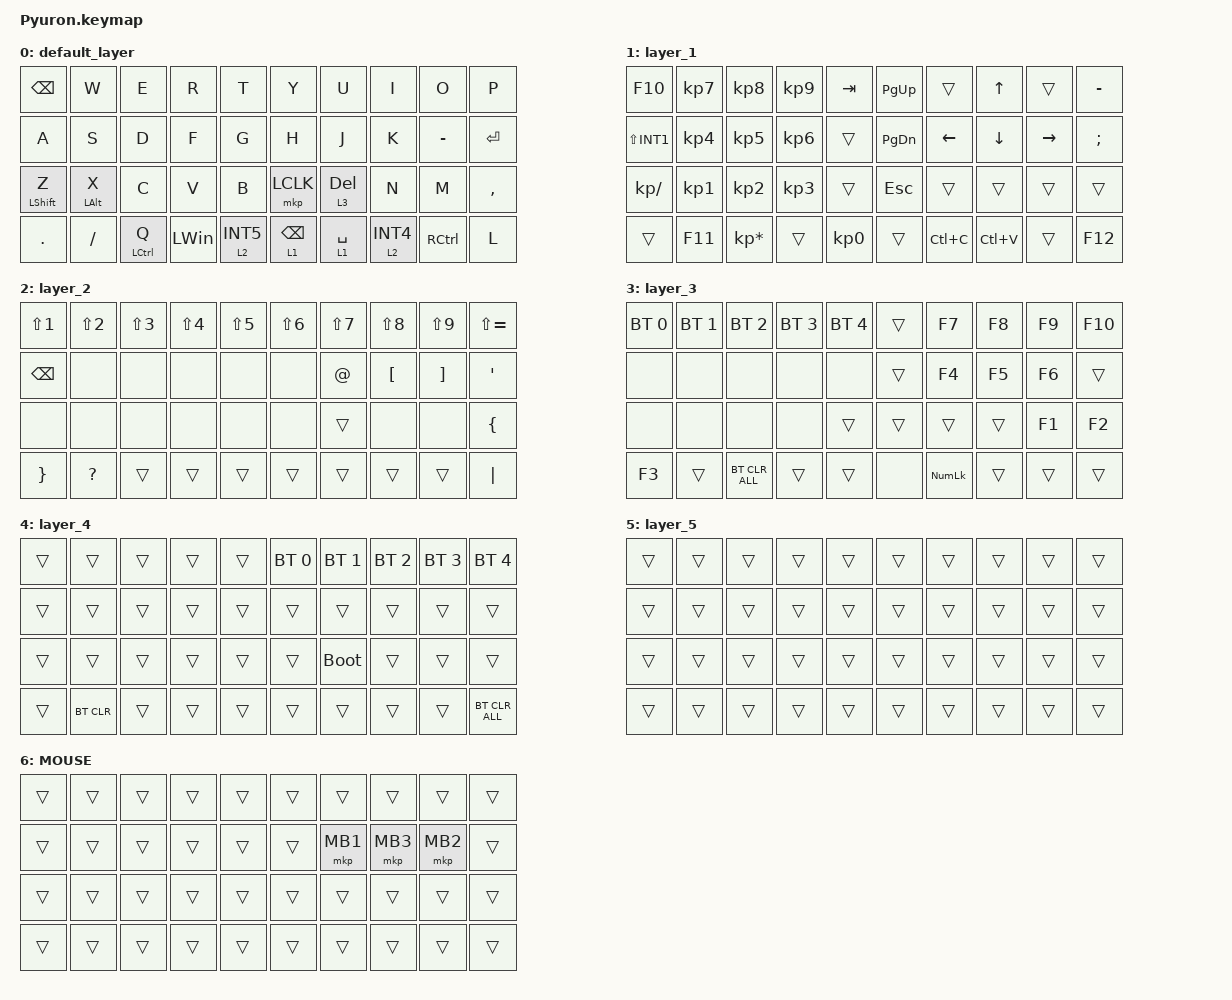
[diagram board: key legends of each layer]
#include <behaviors.dtsi>
#include <dt-bindings/zmk/bt.h>
#include <dt-bindings/zmk/keys.h>
#include <dt-bindings/zmk/pointing.h>

#define MOUSE 6

&mt {
    flavor = "balanced";
    quick-tap-ms = <0>;
    tapping-term-ms = <150>;
};

&lt {
    tapping-term-ms = <150>;
    flavor = "balanced";
};

/ {
    combos {
        compatible = "zmk,combos";

        f2 {
            bindings = <&kp F2>;
            key-positions = <13 12>;
        };

        lclk {
            bindings = <&mkp LCLK>;
            key-positions = <11 12>;
        };

        lclk2 {
            bindings = <&mkp LCLK>;
            key-positions = <16 17>;
        };

        rclk {
            bindings = <&mkp RCLK>;
            key-positions = <17 18>;
        };
    };

    macros {
        to_layer_0: to_layer_0 {
            compatible = "zmk,behavior-macro-one-param";
            #binding-cells = <1>;
            bindings = <&to 0 &macro_param_1to1 &kp MACRO_PLACEHOLDER>;
            label = "TO_LAYER_0";
        };
    };

    lt_to_layer_0: lt_to_layer_0 {
        compatible = "zmk,behavior-hold-tap";
        label = "LAYER_TAP_TO_0";
        bindings = <&mo>, <&to_layer_0>;

        #binding-cells = <2>;
        tapping-term-ms = <200>;
    };
};

/ {
    behaviors {
    };

    keymap {
        compatible = "zmk,keymap";

        default_layer {
            bindings = <
&kp BACKSPACE     &kp W           &kp E        &kp R         &kp T       &kp Y            &kp U         &kp I       &kp O              &kp P
&kp A             &kp S           &kp D        &kp F         &kp G       &kp H            &kp J         &kp K       &kp MINUS          &kp ENTER
&mt LEFT_SHIFT Z  &mt LEFT_ALT X  &kp C        &kp V         &kp B       &mkp LCLK        &lt 3 DELETE  &kp N       &kp M              &kp COMMA
&kp DOT           &kp SLASH       &mt LCTRL Q  &kp LEFT_WIN  &lt 2 INT5  &lt 1 BACKSPACE  &lt 1 SPACE   &lt 2 INT4  &kp RIGHT_CONTROL  &kp L
            >;
        };

        layer_1 {
            bindings = <
&kp F10       &kp KP_NUMBER_7  &kp KP_NUMBER_8  &kp KP_NUMBER_9  &kp TAB          &kp PG_UP   &trans     &kp UP_ARROW  &trans     &kp MINUS
&kp LS(INT1)  &kp KP_NUMBER_4  &kp KP_NUMBER_5  &kp KP_NUMBER_6  &trans           &kp PG_DN   &kp LEFT   &kp DOWN      &kp RIGHT  &kp SEMICOLON
&kp KP_SLASH  &kp KP_NUMBER_1  &kp KP_NUMBER_2  &kp KP_NUMBER_3  &trans           &kp ESCAPE  &trans     &trans        &trans     &trans
&trans        &kp F11          &kp KP_MULTIPLY  &trans           &kp KP_NUMBER_0  &trans      &kp LC(C)  &kp LC(V)     &trans     &kp F12
            >;
        };

        layer_2 {
            bindings = <
&kp LS(N1)       &kp LS(N2)  &kp LS(N3)  &kp LS(N4)  &kp LS(N5)  &kp LS(N6)  &kp LS(N7)   &kp LS(N8)        &kp LS(N9)         &kp LS(EQUAL)
&kp BACKSPACE    &none       &none       &none       &none       &none       &kp AT_SIGN  &kp LEFT_BRACKET  &kp RIGHT_BRACKET  &kp APOSTROPHE
&none            &none       &none       &none       &none       &none       &trans       &none             &none              &kp LEFT_BRACE
&kp RIGHT_BRACE  &kp QMARK   &trans      &trans      &trans      &trans      &trans       &trans            &trans             &kp PIPE
            >;
        };

        layer_3 {
            bindings = <
&bt BT_SEL 0  &bt BT_SEL 1  &bt BT_SEL 2    &bt BT_SEL 3  &bt BT_SEL 4  &trans  &kp F7          &kp F8  &kp F9  &kp F10
&none         &none         &none           &none         &none         &trans  &kp F4          &kp F5  &kp F6  &trans
&none         &none         &none           &none         &trans        &trans  &trans          &trans  &kp F1  &kp F2
&kp F3        &trans        &bt BT_CLR_ALL  &trans        &trans        &none   &kp KP_NUMLOCK  &trans  &trans  &trans
            >;
        };

        layer_4 {
            bindings = <
&trans  &trans      &trans  &trans  &trans  &bt BT_SEL 0  &bt BT_SEL 1  &bt BT_SEL 2  &bt BT_SEL 3  &bt BT_SEL 4
&trans  &trans      &trans  &trans  &trans  &trans        &trans        &trans        &trans        &trans
&trans  &trans      &trans  &trans  &trans  &trans        &bootloader   &trans        &trans        &trans
&trans  &bt BT_CLR  &trans  &trans  &trans  &trans        &trans        &trans        &trans        &bt BT_CLR_ALL
            >;
        };

        layer_5 {
            bindings = <
&trans  &trans  &trans  &trans  &trans  &trans  &trans  &trans  &trans  &trans
&trans  &trans  &trans  &trans  &trans  &trans  &trans  &trans  &trans  &trans
&trans  &trans  &trans  &trans  &trans  &trans  &trans  &trans  &trans  &trans
&trans  &trans  &trans  &trans  &trans  &trans  &trans  &trans  &trans  &trans
            >;
        };

        MOUSE {
            bindings = <
&trans  &trans  &trans  &trans  &trans  &trans  &trans    &trans    &trans    &trans
&trans  &trans  &trans  &trans  &trans  &trans  &mkp MB1  &mkp MB3  &mkp MB2  &trans
&trans  &trans  &trans  &trans  &trans  &trans  &trans    &trans    &trans    &trans
&trans  &trans  &trans  &trans  &trans  &trans  &trans    &trans    &trans    &trans
            >;
        };
    };
};
